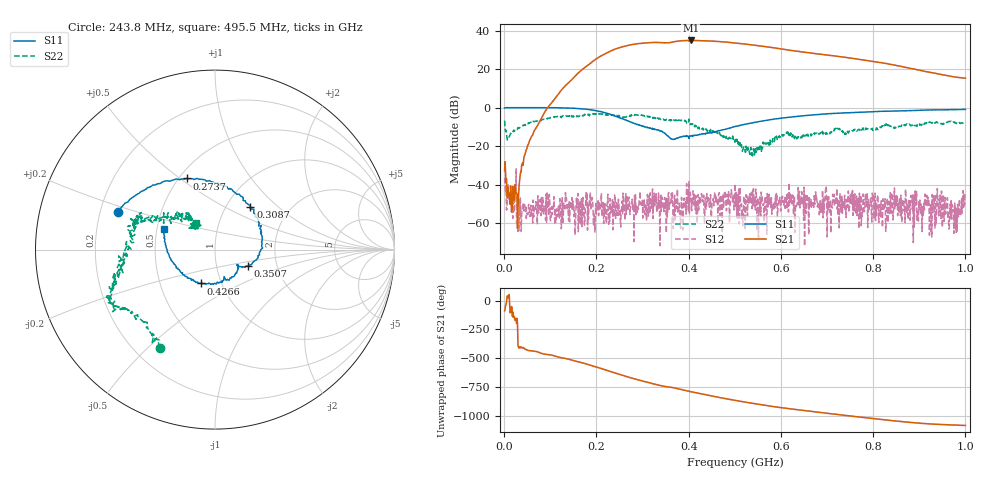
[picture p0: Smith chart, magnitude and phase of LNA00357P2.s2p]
! Created with skrf 1.9.0 (http://scikit-rf.org).
# Hz S RI R 50.0
!freq ReS11 ImS11 ReS21 ImS21 ReS12 ImS12 ReS22 ImS22
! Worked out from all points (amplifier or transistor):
!   1001 points, 1 MHz to 1 GHz, reference 50 ohm
!   highest |S21| = 34.9 dB at 404.6 MHz (marker M1)
!   |S21| within 3 dB of that: 261.8 MHz to 559.7 MHz (297.9 MHz wide, 72.5 % of centre)
!   unconditionally stable (mu >= 1): start of sweep to 67.93 MHz; 294.9 MHz to 395.6 MHz; 400.7 MHz to end of sweep (the widest 3 of 35)
!   at 166.8 MHz: K = 1.12, MAG = 33.7 dB, |S12| = -52.4 dB
!   at 500.5 MHz: K = 1.11, MAG = 34.5 dB, |S12| = -39.5 dB
!   at 1 GHz: K = 3.02, MAG = 22.8 dB, |S12| = -45.7 dB
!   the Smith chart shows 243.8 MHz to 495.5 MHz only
!   S11 on the Smith chart (normalised r, x): 243.8 MHz: 0.27, +0.17; 273.7 MHz: 0.55, +0.53; 308.7 MHz: 1.29, +0.68; 350.6 MHz: 1.42, -0.27; 426.6 MHz: 0.80, -0.31; 495.5 MHz: 0.54, +0.14
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1000000  0.9749 0.00653  0.000597 -0.0231  -0.015 -0.00174  0.3252 0.3278
1.08892e8  0.5038 -0.8571  -0.7666 -1.447  -0.00119 0.00242  0.4233 -0.367
1.67833e8  -0.2719 -0.8898  -9.453 -0.5577  0.00262 -0.00342  0.0447 -0.6287
2.09791e8  -0.7064 -0.3498  -15.03 15.9  -0.00213 0.00217  -0.1942 -0.656
2.43757e8  -0.5421 0.2117  0.331 34.06  0.00212 -0.00295  -0.3051 -0.5462
2.73727e8  -0.1565 0.3962  25.73 33.84  -0.00128 0.00226  -0.5344 -0.3383
3.08692e8  0.1977 0.2373  46.8 11.89  0.000472 0.00107  -0.571 -0.1826
3.34666e8  0.2654 0.00811  48.21 -9.682  -0.00251 0.00554  -0.5047 -0.0461
3.5065e8  0.1831 -0.092  43.91 -19.57  -0.000897 0.00398  -0.4799 0.0282
3.75625e8  0.1297 -0.1002  39.95 -35.08  -0.00011 0.0077  -0.4769 0.1763
4.04596e8  0.0403 -0.1808  20.56 -51.52  -0.000955 0.00431  -0.3362 0.1846
4.26574e8  -0.0795 -0.1883  3.276 -54.5  0.00304 0.00353  -0.2364 0.1731
4.55545e8  -0.2158 -0.1024  -17.7 -49.77  0.00269 0.00364  -0.1658 0.1719
4.95505e8  -0.2866 0.1147  -36.91 -31.47  0.00106 0.00322  -0.1046 0.1509
5.005e8  -0.2859 0.1523  -38.31 -28.88  0.0105 0.000173  -0.0958 0.0825
5.38462e8  -0.2011 0.3446  -41.67 -8.31  0.00135 -0.00661  -0.0536 0.0163
5.83417e8  0.00202 0.4992  -34.31 10.23  0.00202 -0.00258  -0.1464 -0.0577
6.18382e8  0.1696 0.5384  -25.27 17.88  0.000116 -0.0029  -0.179 -0.0597
6.67333e8  0.4051 0.501  -13.17 22.13  0.00192 -0.00314  -0.1956 -0.0146
7.55245e8  0.6928 0.2766  3.355 18.64  -0.00117 -0.00694  -0.2465 0.0309
8.34166e8  0.809 0.015  9.627 9.555  0.000235 0.00363  -0.3507 0.0237
1e9  0.7185 -0.5413  5.785 0.0138  -0.000958 -0.00511  -0.2543 0.3178
